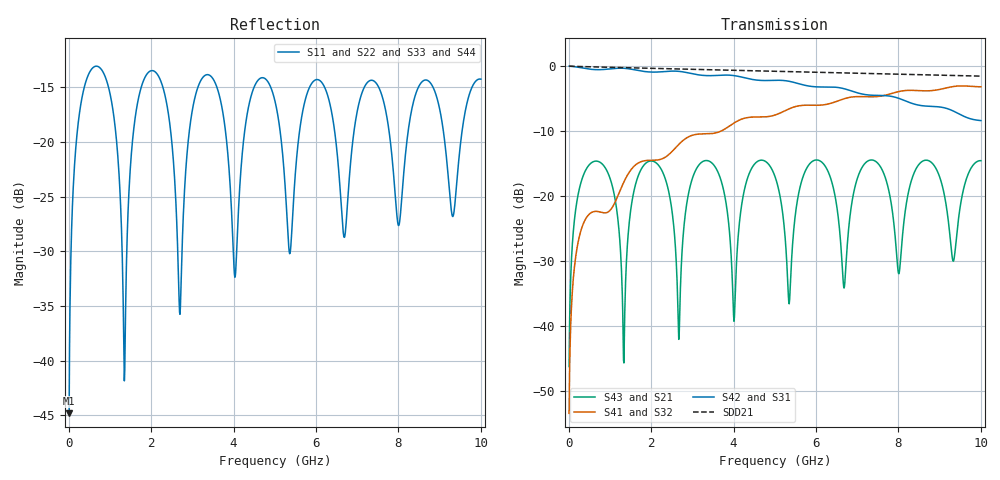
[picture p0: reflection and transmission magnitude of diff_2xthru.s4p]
# HZ S RI R 50
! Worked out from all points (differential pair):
!   1000 points, 10 MHz to 10 GHz, reference 50 ohm
!   strongest paths, dB at 10 MHz, 2.51 GHz, 5.01 GHz, 7.51 GHz, 10 GHz:
!     S42: 0.0, -0.8, -2.2, -4.5, -8.4
!     S31: 0.0, -0.8, -2.2, -4.5, -8.4
!     S41: -53.5, -13.1, -7.5, -4.7, -3.2
!     S32: -53.5, -13.1, -7.5, -4.7, -3.2
!     S43: -46.3, -22.5, -17.1, -15.0, -14.6
!     S21: -46.3, -22.5, -17.1, -15.0, -14.6
!   taken as a pair (ports 2,1 in; 4,3 out), SDD21 dB: 0.0, -0.4, -0.8, -1.2, -1.5
!   lowest |S11| = -44.8 dB at 10 MHz (marker M1), VSWR 1.01, Z = 50 + j0.574 ohm
!   |S11| at or under -10 dB: start of sweep to end of sweep
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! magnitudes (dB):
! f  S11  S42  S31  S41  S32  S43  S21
! 10 MHz  -44.8  0.0  0.0  -53.5  -53.5  -46.3  -46.3
! 390 MHz  -14.8  -0.4  -0.4  -23.8  -23.8  -16.3  -16.3
! 1.34 GHz  -39.6  -0.3  -0.3  -17.8  -17.8  -45.7  -45.7
! 1.65 GHz  -16.9  -0.6  -0.6  -15.1  -15.1  -17.6  -17.6
! 2.67 GHz  -33.3  -0.8  -0.8  -12.1  -12.1  -42.1  -42.1
! 3.27 GHz  -14.0  -1.4  -1.4  -10.4  -10.4  -14.6  -14.6
! 10 GHz  -14.2  -8.4  -8.4  -3.2  -3.2  -14.6  -14.6
